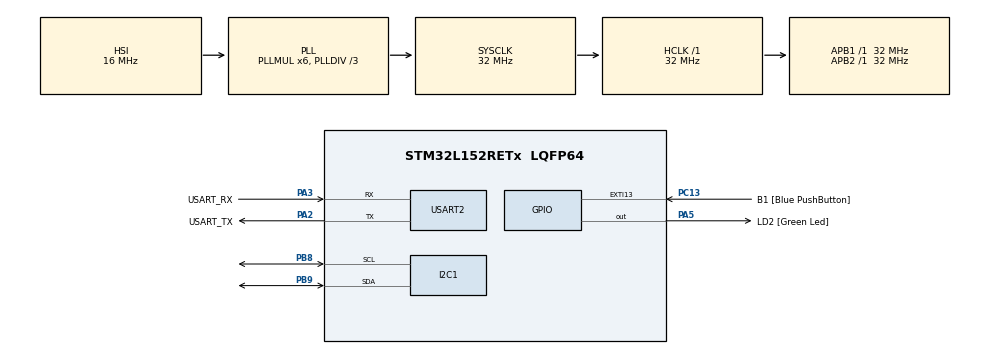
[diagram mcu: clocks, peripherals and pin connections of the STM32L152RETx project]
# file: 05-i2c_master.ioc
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Mcu.Family=STM32L1
Mcu.Name=STM32L152RETx
Mcu.Package=LQFP64
NVIC.PriorityGroup=NVIC_PRIORITYGROUP_0
PA13.GPIO_Label=TMS
PA13.Mode=Serial_Wire
PA13.Signal=SYS_JTMS-SWDIO
PA14.GPIO_Label=TCK
PA14.Mode=Serial_Wire
PA14.Signal=SYS_JTCK-SWCLK
PA2.GPIO_Label=USART_TX
PA2.Mode=Asynchronous
PA2.Signal=USART2_TX
PA3.GPIO_Label=USART_RX
PA3.Mode=Asynchronous
PA3.Signal=USART2_RX
PA5.GPIO_Label=LD2 [Green Led]
PA5.Signal=GPIO_Output
PB3.GPIO_Label=SWO
PB3.Signal=SYS_JTDO-TRACESWO
PB8.Mode=I2C
PB8.Signal=I2C1_SCL
PB9.Mode=I2C
PB9.Signal=I2C1_SDA
PC13-WKUP2.GPIO_Label=B1 [Blue PushButton]
PC13-WKUP2.Signal=GPXTI13
PC14-OSC32_IN.Mode=LSE-External-Oscillator
PC14-OSC32_IN.Signal=RCC_OSC32_IN
PC15-OSC32_OUT.Mode=LSE-External-Oscillator
PC15-OSC32_OUT.Signal=RCC_OSC32_OUT
PH0-OSC_IN.Mode=HSE-External-Clock-Source
PH0-OSC_IN.Signal=RCC_OSC_IN
PH1-OSC_OUT.Signal=RCC_OSC_OUT
ProjectManager.HeapSize=0x200
ProjectManager.StackSize=0x400
ProjectManager.TargetToolchain=STM32CubeIDE
RCC.48MHZClocksFreq_Value=48000000
RCC.AHBFreq_Value=32000000
RCC.APB1Freq_Value=32000000
RCC.APB1TimFreq_Value=32000000
RCC.APB2Freq_Value=32000000
RCC.APB2TimFreq_Value=32000000
RCC.HCLKFreq_Value=32000000
RCC.HSE_VALUE=8000000
RCC.HSI_VALUE=16000000
RCC.MSI_VALUE=2097000
RCC.PLLDIV=RCC_PLL_DIV3
RCC.PLLMUL=RCC_PLL_MUL6
RCC.RTCClockSelectionVirtual=RCC_RTCCLKSOURCE_LSE
RCC.SYSCLKFreq_VALUE=32000000
RCC.SYSCLKSource=RCC_SYSCLKSOURCE_PLLCLK
RCC.USBOutput=48000000
RCC.VCOOutputFreq_Value=96000000
USART2.VirtualMode=VM_ASYNC
board=NUCLEO-L152RE

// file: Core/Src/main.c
/* USER CODE BEGIN Header */
/**
  ******************************************************************************
  * @file           : main.c
  * @brief          : Main program body
  ******************************************************************************
  * @attention
  *
  * Copyright (c) 2024 STMicroelectronics.
  * All rights reserved.
  *
  * This software is licensed under terms that can be found in the LICENSE file
  * in the root directory of this software component.
  * If no LICENSE file comes with this software, it is provided AS-IS.
  *
  ******************************************************************************
  */
/* USER CODE END Header */
#include "main.h"

/* USER CODE BEGIN PTD */
typedef struct
{
	uint8_t cmd;
	uint8_t result;
	uint16_t pot;
	uint16_t photo_r;

} analog_data_t;
/* USER CODE END PTD */

/* USER CODE BEGIN PD */
#define SLAVE_ADDR 0x09 << 1 // I2C Addresses are 7 bit, so address needs to be left shifted
/* USER CODE END PD */

I2C_HandleTypeDef hi2c1;

UART_HandleTypeDef huart2;

/* USER CODE BEGIN PV */
unsigned char i2c_buffer[50];
/* USER CODE END PV */

void SystemClock_Config(void);
static void MX_GPIO_Init(void);
static void MX_USART2_UART_Init(void);
static void MX_I2C1_Init(void);

int main(void)
{

  /* MCU Configuration--------------------------------------------------------*/

  /* Reset of all peripherals, Initializes the Flash interface and the Systick. */
  HAL_Init();

  /* Configure the system clock */
  SystemClock_Config();

  /* Initialize all configured peripherals */
  MX_GPIO_Init();
  MX_USART2_UART_Init();
  MX_I2C1_Init();

  /* Infinite loop */
  /* USER CODE BEGIN WHILE */
  while (1)
  {
	 HAL_StatusTypeDef result = HAL_ERROR;
	 analog_data_t response;

	 uint8_t i2c_cmd = 0x01;

	 result = HAL_I2C_Master_Transmit(&hi2c1, SLAVE_ADDR, &i2c_cmd, sizeof(uint8_t), 1000);

	 result = HAL_I2C_Master_Receive(&hi2c1, SLAVE_ADDR, (uint8_t *)(&response), sizeof(analog_data_t), 1000);

	 HAL_Delay(1000);

	 i2c_cmd = 0x02;

	 result = HAL_I2C_Master_Transmit(&hi2c1, SLAVE_ADDR, &i2c_cmd, sizeof(uint8_t), 1000);

	 result = HAL_I2C_Master_Receive(&hi2c1, SLAVE_ADDR, (uint8_t *)(&response), sizeof(analog_data_t), 1000);

	 HAL_Delay(1000);

	 i2c_cmd = 0x03;

	 result = HAL_I2C_Master_Transmit(&hi2c1, SLAVE_ADDR, &i2c_cmd, sizeof(uint8_t), 1000);

	 result = HAL_I2C_Master_Receive(&hi2c1, SLAVE_ADDR, (uint8_t *)(&response), sizeof(analog_data_t), 1000);

	 HAL_Delay(1000);
    /* USER CODE END WHILE */

  }
}

void SystemClock_Config(void)
{
  RCC_OscInitTypeDef RCC_OscInitStruct = {0};
  RCC_ClkInitTypeDef RCC_ClkInitStruct = {0};

  /** Configure the main internal regulator output voltage
  */
  __HAL_PWR_VOLTAGESCALING_CONFIG(PWR_REGULATOR_VOLTAGE_SCALE1);

  /** Initializes the RCC Oscillators according to the specified parameters
  * in the RCC_OscInitTypeDef structure.
  */
  RCC_OscInitStruct.OscillatorType = RCC_OSCILLATORTYPE_HSI;
  RCC_OscInitStruct.HSIState = RCC_HSI_ON;
  RCC_OscInitStruct.HSICalibrationValue = RCC_HSICALIBRATION_DEFAULT;
  RCC_OscInitStruct.PLL.PLLState = RCC_PLL_ON;
  RCC_OscInitStruct.PLL.PLLSource = RCC_PLLSOURCE_HSI;
  RCC_OscInitStruct.PLL.PLLMUL = RCC_PLL_MUL6;
  RCC_OscInitStruct.PLL.PLLDIV = RCC_PLL_DIV3;
  if (HAL_RCC_OscConfig(&RCC_OscInitStruct) != HAL_OK)
  {
    Error_Handler();
  }

  /** Initializes the CPU, AHB and APB buses clocks
  */
  RCC_ClkInitStruct.ClockType = RCC_CLOCKTYPE_HCLK|RCC_CLOCKTYPE_SYSCLK
                              |RCC_CLOCKTYPE_PCLK1|RCC_CLOCKTYPE_PCLK2;
  RCC_ClkInitStruct.SYSCLKSource = RCC_SYSCLKSOURCE_PLLCLK;
  RCC_ClkInitStruct.AHBCLKDivider = RCC_SYSCLK_DIV1;
  RCC_ClkInitStruct.APB1CLKDivider = RCC_HCLK_DIV1;
  RCC_ClkInitStruct.APB2CLKDivider = RCC_HCLK_DIV1;

  if (HAL_RCC_ClockConfig(&RCC_ClkInitStruct, FLASH_LATENCY_1) != HAL_OK)
  {
    Error_Handler();
  }
}

static void MX_I2C1_Init(void)
{

  hi2c1.Instance = I2C1;
  hi2c1.Init.ClockSpeed = 100000;
  hi2c1.Init.DutyCycle = I2C_DUTYCYCLE_2;
  hi2c1.Init.OwnAddress1 = 0;
  hi2c1.Init.AddressingMode = I2C_ADDRESSINGMODE_7BIT;
  hi2c1.Init.DualAddressMode = I2C_DUALADDRESS_DISABLE;
  hi2c1.Init.OwnAddress2 = 0;
  hi2c1.Init.GeneralCallMode = I2C_GENERALCALL_DISABLE;
  hi2c1.Init.NoStretchMode = I2C_NOSTRETCH_DISABLE;
  if (HAL_I2C_Init(&hi2c1) != HAL_OK)
  {
    Error_Handler();
  }

}

static void MX_USART2_UART_Init(void)
{

  huart2.Instance = USART2;
  huart2.Init.BaudRate = 115200;
  huart2.Init.WordLength = UART_WORDLENGTH_8B;
  huart2.Init.StopBits = UART_STOPBITS_1;
  huart2.Init.Parity = UART_PARITY_NONE;
  huart2.Init.Mode = UART_MODE_TX_RX;
  huart2.Init.HwFlowCtl = UART_HWCONTROL_NONE;
  huart2.Init.OverSampling = UART_OVERSAMPLING_16;
  if (HAL_UART_Init(&huart2) != HAL_OK)
  {
    Error_Handler();
  }

}

static void MX_GPIO_Init(void)
{
  GPIO_InitTypeDef GPIO_InitStruct = {0};

  /* GPIO Ports Clock Enable */
  __HAL_RCC_GPIOC_CLK_ENABLE();
  __HAL_RCC_GPIOH_CLK_ENABLE();
  __HAL_RCC_GPIOA_CLK_ENABLE();
  __HAL_RCC_GPIOB_CLK_ENABLE();

  /*Configure GPIO pin Output Level */
  HAL_GPIO_WritePin(LD2_GPIO_Port, LD2_Pin, GPIO_PIN_RESET);

  /*Configure GPIO pin : B1_Pin */
  GPIO_InitStruct.Pin = B1_Pin;
  GPIO_InitStruct.Mode = GPIO_MODE_IT_RISING;
  GPIO_InitStruct.Pull = GPIO_NOPULL;
  HAL_GPIO_Init(B1_GPIO_Port, &GPIO_InitStruct);

  /*Configure GPIO pin : LD2_Pin */
  GPIO_InitStruct.Pin = LD2_Pin;
  GPIO_InitStruct.Mode = GPIO_MODE_OUTPUT_PP;
  GPIO_InitStruct.Pull = GPIO_NOPULL;
  GPIO_InitStruct.Speed = GPIO_SPEED_FREQ_LOW;
  HAL_GPIO_Init(LD2_GPIO_Port, &GPIO_InitStruct);

}

void Error_Handler(void)
{
  __disable_irq();
  while (1)
  {
  }
}
